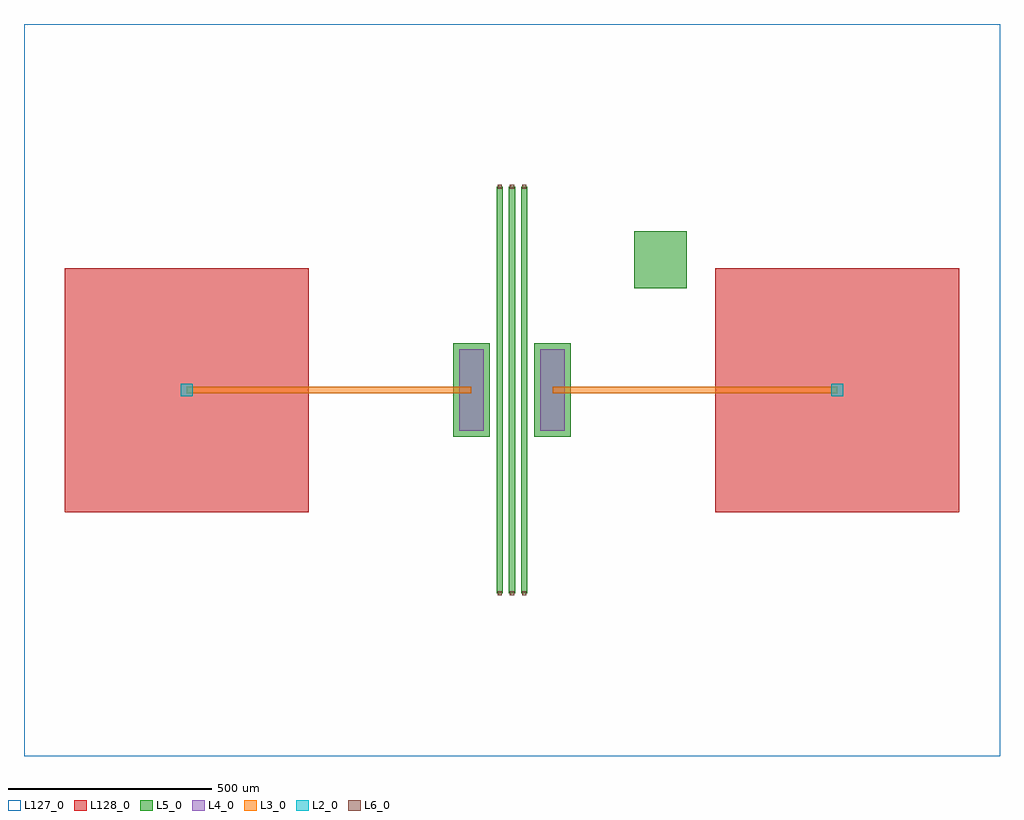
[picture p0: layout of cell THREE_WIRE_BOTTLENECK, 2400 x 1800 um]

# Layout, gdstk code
import gdstk
lib = gdstk.Library(unit=1e-6, precision=1e-09)
def R(c, l, rs):  # rectangles x0, y0, x1, y1
    for r in rs: c.add(gdstk.rectangle(r[:2], r[2:], *l))
def A(c, l, x, y, w, h, nx, ny, dx, dy):  # array of equal rectangles
    R(c, l, [(x+i*dx, y+j*dy, x+i*dx+w, y+j*dy+h) for i in range(nx) for j in range(ny)])
L2_0 = (2, 0)
L3_0 = (3, 0)
L4_0 = (4, 0)
L5_0 = (5, 0)
L6_0 = (6, 0)
L127_0 = (127, 0)
L128_0 = (128, 0)

three_wire_bottleneck = lib.new_cell('THREE_WIRE_BOTTLENECK')
R(three_wire_bottleneck, L2_0, [(-815,-15,-785,15), (785,-15,815,15)])
R(three_wire_bottleneck, L4_0, [(-130,-100,-70,100), (70,-100,130,100)])
A(three_wire_bottleneck, L5_0, -37.5, -500, 15, 1000, 3, 1, 30, 0)
R(three_wire_bottleneck, L5_0, [(-145,-115,-55,115), (55,-115,145,115), (300,250,430,390)])
A(three_wire_bottleneck, L6_0, -35, -505, 10, 10, 3, 2, 30, 1000)
R(three_wire_bottleneck, L127_0, [(-1200,-900,1200,900)])
R(three_wire_bottleneck, L128_0, [(-1100,-300,-500,300), (500,-300,1100,300)])
three_wire_bottleneck.add(gdstk.FlexPath([(-800,0),(-100,0)], 15, ends="flush", simple_path=True, layer=3, datatype=0))  # L3_0
three_wire_bottleneck.add(gdstk.FlexPath([(800,0),(100,0)], 15, ends="flush", simple_path=True, layer=3, datatype=0))  # L3_0

lib.write_gds('THREE_WIRE_BOTTLENECK.gds')
